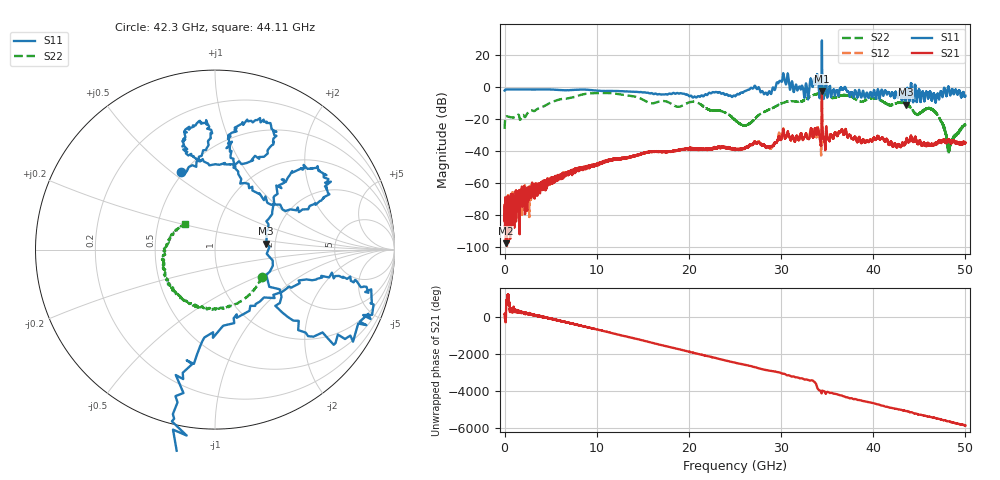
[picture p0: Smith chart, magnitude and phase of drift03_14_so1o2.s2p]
!Created with skrf (http://scikit-rf.org).
# Hz S RI R 50.0
!freq ReS11 ImS11 ReS21 ImS21 ReS12 ImS12 ReS22 ImS22
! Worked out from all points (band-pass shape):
!   10000 points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, 5.3 MHz to 50 GHz, reference 50 ohm
!   highest |S21| = -2.31 dB at 34.43 GHz (marker M1); lowest = -97.6 dB at 145.3 MHz (marker M2)
!   |S21| within 3 dB of the highest: 34.42775 GHz to 34.43503 GHz (7.284 MHz wide, 0.0212 % of centre)
!   lowest |S11| = -10.9 dB at 43.52 GHz (marker M3), VSWR 1.80, Z = 89.2 + j6.38 ohm
!   |S11| at or under -10 dB: 43.49948 GHz to 43.53734 GHz (37.86 MHz wide, 0.087 % of centre)
!   |S22| runs from -41.9 to -3.6 dB; largest |S21 - S12| = 0.23
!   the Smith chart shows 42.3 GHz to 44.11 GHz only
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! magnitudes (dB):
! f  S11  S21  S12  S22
! 5.3 MHz  -2.1  -79.8  -74.8  -26.0
! 145.3 MHz  -1.4  -97.6  -75.8  -18.4
! 1.945 GHz  -1.3  -65.9  -65.6  -17.5
! 8.34 GHz  -1.5  -51.0  -50.4  -4.7
! 16.67 GHz  -4.4  -40.3  -40.3  -9.1
! 20.72 GHz  -6.2  -38.7  -39.1  -9.3
! 25.01 GHz  -5.5  -38.7  -38.7  -20.5
! 26.24 GHz  -2.2  -37.5  -37.2  -23.6
! 28.72 GHz  -2.5  -37.6  -37.4  -14.0
! 30.14 GHz  4.3  -29.5  -29.8  -9.9
! 32.74 GHz  2.0  -29.6  -29.3  -7.3
! 33.34 GHz  2.5  -27.4  -27.6  -5.3
! 33.82 GHz  3.9  -29.3  -29.6  -4.4
! 34.43 GHz  29.2  -2.3  -4.3  -4.0
! 36.48 GHz  -0.3  -27.9  -28.1  -5.3
! 41.67 GHz  -3.2  -35.5  -35.8  -11.2
! 43.52 GHz  -10.9  -34.3  -34.4  -10.3
! 44.73 GHz  -9.0  -34.7  -34.4  -17.3
! 46.67 GHz  -5.7  -35.6  -35.7  -15.0
! 47.57 GHz  -4.9  -33.2  -33.1  -23.9
! 48.23 GHz  -1.0  -33.1  -33.2  -38.6
! 50 GHz  -5.4  -34.9  -34.7  -23.3
